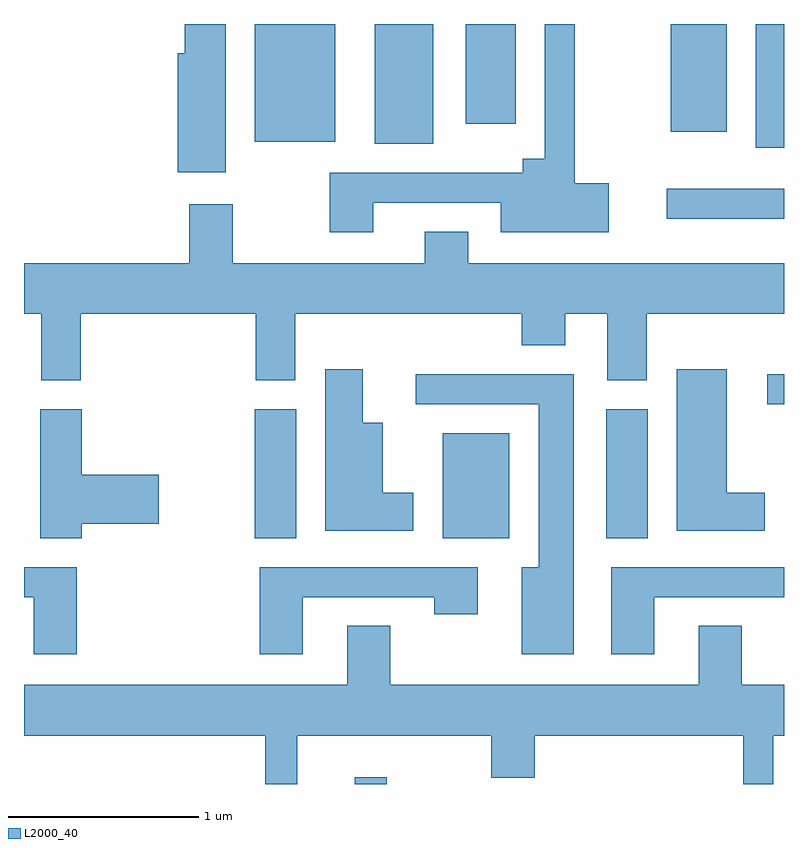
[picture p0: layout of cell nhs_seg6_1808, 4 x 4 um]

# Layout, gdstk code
import gdstk
lib = gdstk.Library(unit=1e-6, precision=1e-09)
def R(c, l, rs):  # rectangles x0, y0, x1, y1
    for r in rs: c.add(gdstk.rectangle(r[:2], r[2:], *l))
def P(c, l, *ps):  # polygons
    for p in ps: c.add(gdstk.Polygon(p, *l))
L2000_40 = (2000, 40)

nhs_seg6_1808 = lib.new_cell('nhs_seg6_1808')
R(nhs_seg6_1808, L2000_40, [(241.351,1614.162,241.519,1614.198), (240.826,1615.456,241.044,1616.134), (241.816,1615.456,242.164,1616.009), (242.676,1615.456,242.894,1616.134), (243.523,1616.161,243.611,1616.319), (242.993,1617.136,243.611,1617.294), (243.461,1617.511,243.611,1618.162), (241.456,1617.531,241.764,1618.162), (240.826,1617.541,241.249,1618.162), (243.016,1617.596,243.309,1618.162), (241.936,1617.636,242.199,1618.162)])
P(nhs_seg6_1808, L2000_40, [(240.674,1618.162),(240.456,1618.162),(240.456,1618.009),(240.421,1618.009),(240.421,1617.381),(240.674,1617.381)],
  [(241.449,1617.221),(242.121,1617.221),(242.121,1617.066),(242.689,1617.066),(242.689,1617.324),(242.509,1617.324),(242.509,1618.162),(242.351,1618.162),(242.351,1617.454),(242.236,1617.454),(242.236,1617.379),(241.221,1617.379),(241.221,1617.066),(241.449,1617.066)],
  [(240.709,1617.214),(240.481,1617.214),(240.481,1616.904),(239.611,1616.904),(239.611,1616.636),(239.701,1616.636),(239.701,1616.286),(239.909,1616.286),(239.909,1616.636),(240.831,1616.636),(240.831,1616.286),(241.039,1616.286),(241.039,1616.636),(242.231,1616.636),(242.231,1616.471),(242.459,1616.471),(242.459,1616.636),(242.681,1616.636),(242.681,1616.286),(242.889,1616.286),(242.889,1616.636),(243.611,1616.636),(243.611,1616.904),(241.949,1616.904),(241.949,1617.069),(241.721,1617.069),(241.721,1616.904),(240.709,1616.904)],
  [(243.509,1615.694),(243.309,1615.694),(243.309,1616.344),(243.046,1616.344),(243.046,1615.496),(243.509,1615.496)],
  [(241.659,1615.694),(241.499,1615.694),(241.499,1616.064),(241.394,1616.064),(241.394,1616.344),(241.196,1616.344),(241.196,1615.496),(241.659,1615.496)],
  [(242.504,1616.319),(241.673,1616.319),(241.673,1616.161),(242.321,1616.161),(242.321,1615.304),(242.231,1615.304),(242.231,1614.846),(242.504,1614.846)],
  [(239.914,1615.531),(240.319,1615.531),(240.319,1615.789),(239.914,1615.789),(239.914,1616.134),(239.696,1616.134),(239.696,1615.456),(239.914,1615.456)],
  [(241.079,1615.146),(241.771,1615.146),(241.771,1615.056),(241.999,1615.056),(241.999,1615.304),(240.851,1615.304),(240.851,1614.846),(241.079,1614.846)],
  [(242.929,1615.146),(243.611,1615.146),(243.611,1615.304),(242.701,1615.304),(242.701,1614.846),(242.929,1614.846)],
  [(239.889,1615.304),(239.611,1615.304),(239.611,1615.146),(239.661,1615.146),(239.661,1614.846),(239.889,1614.846)],
  [(239.611,1614.416),(240.881,1614.416),(240.881,1614.162),(241.049,1614.162),(241.049,1614.416),(242.071,1614.416),(242.071,1614.196),(242.299,1614.196),(242.299,1614.416),(243.396,1614.416),(243.396,1614.162),(243.554,1614.162),(243.554,1614.416),(243.611,1614.416),(243.611,1614.684),(243.389,1614.684),(243.389,1614.994),(243.161,1614.994),(243.161,1614.684),(241.539,1614.684),(241.539,1614.994),(241.311,1614.994),(241.311,1614.684),(239.611,1614.684)])

lib.write_gds('nhs_seg6_1808.gds')
